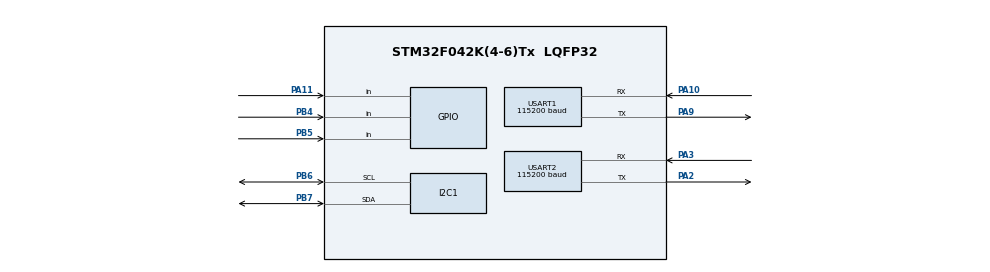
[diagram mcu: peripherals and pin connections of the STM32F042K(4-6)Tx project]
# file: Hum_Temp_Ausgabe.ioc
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I2C1.Timing=0x00201D2B
Mcu.Family=STM32F0
Mcu.Name=STM32F042K(4-6)Tx
Mcu.Package=LQFP32
PA10.Mode=Asynchronous
PA10.Signal=USART1_RX
PA11.Signal=GPIO_Input
PA13.Mode=Serial_Wire
PA13.Signal=SYS_SWDIO
PA14.Mode=Serial_Wire
PA14.Signal=SYS_SWCLK
PA2.Mode=Asynchronous
PA2.Signal=USART2_TX
PA3.Mode=Asynchronous
PA3.Signal=USART2_RX
PA9.Mode=Asynchronous
PA9.Signal=USART1_TX
PB4.Signal=GPIO_Input
PB5.Signal=GPIO_Input
PB6.Mode=I2C
PB6.Signal=I2C1_SCL
PB7.Mode=I2C
PB7.Signal=I2C1_SDA
ProjectManager.HeapSize=0x200
ProjectManager.StackSize=0x400
ProjectManager.TargetToolchain=STM32CubeIDE
USART1.BaudRate=115200
USART1.VirtualMode-Asynchronous=VM_ASYNC
USART2.BaudRate=115200
USART2.VirtualMode-Asynchronous=VM_ASYNC
board=NUCLEO-F042K6

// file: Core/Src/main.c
/* USER CODE BEGIN Header */
/**
  ******************************************************************************
  * @file           : main.c
  * @brief          : Main program body
  ******************************************************************************
  * @attention
  *
  * Copyright (c) 2026 STMicroelectronics.
  * All rights reserved.
  *
  * This software is licensed under terms that can be found in the LICENSE file
  * in the root directory of this software component.
  * If no LICENSE file comes with this software, it is provided AS-IS.
  *
  ******************************************************************************
  */
/* USER CODE END Header */
#include "main.h"

/* USER CODE BEGIN Includes */
#include <string.h>
#include <stdio.h>
#include <stdlib.h>
#include <stdbool.h>
#include "ssd1306.h"
#include "ssd1306_fonts.h"
/* USER CODE END Includes */

/* USER CODE BEGIN PTD */

typedef enum {
	IPD_WAIT_HDR, IPD_READ_HDR, IPD_READ_PAYLOAD
} ipd_state_t;

typedef struct {
	 uint8_t id;
	 int16_t temperature_x100;  // z.B. 2345 = 23.45°C
	 int16_t humidity_x100;
	 uint32_t lastUpdate;
	 bool valid;
} slave_data_t;

typedef enum {
	UI_MENU,
	UI_MEASUREMENT,
	UI_CAL_TEMP,
	UI_CAL_HUM,
	UI_LIMIT_TEMP_MIN,
	UI_LIMIT_TEMP_MAX,
	UI_LIMIT_HUM_MIN,
	UI_LIMIT_HUM_MAX
} ui_state_t;

typedef enum {
	BUTTON_NONE,
	BUTTON_UP,
	BUTTON_DOWN,
	BUTTON_ENTER
} button_event_t;

/* USER CODE END PTD */

/* USER CODE BEGIN PD */

#define RX_BUF_SIZE 1500

// WLAN Zugangsdaten (Hotspot)
#define WIFI_SSID "Tyler"
#define WIFI_PASS "12345678"

// TCP Server-Port
#define SERVER_PORT 5000

#define IPD_HDR_MAX   64

#define MAX_SLAVES 4

#define BUTTON_UP_PORT      GPIOB
#define BUTTON_UP_PIN       GPIO_PIN_4
#define BUTTON_DOWN_PORT    GPIOB
#define BUTTON_DOWN_PIN     GPIO_PIN_5
#define BUTTON_ENTER_PORT   GPIOA
#define BUTTON_ENTER_PIN    GPIO_PIN_11
#define BUTTON_PRESSED      GPIO_PIN_SET
#define BUTTON_DEBOUNCE_MS  50

#define MENU_ITEM_COUNT 3

/* USER CODE END PD */

I2C_HandleTypeDef hi2c1;

UART_HandleTypeDef huart1;
UART_HandleTypeDef huart2;

/* USER CODE BEGIN PV */

static char rxBuf[RX_BUF_SIZE];

static ipd_state_t ipd_state = IPD_WAIT_HDR;
static char ipd_hdr[IPD_HDR_MAX];
static uint16_t ipd_hdr_len = 0;
static int ipd_expect = 0;   // erwartete Nutzlast-Bytes aus Header
static uint16_t ipd_payload_i = 0;

static void ipd_reset(void) {
	ipd_state = IPD_WAIT_HDR;
	ipd_hdr_len = 0;
	ipd_expect = 0;
	ipd_payload_i = 0;
}

slave_data_t slaves[MAX_SLAVES];

static ui_state_t ui_state = UI_MENU;
static uint8_t menu_index = 0;
static bool ui_redraw_requested = true;

static int16_t temperature_offset_c = 0;
static int16_t humidity_offset_percent = 0;
static int16_t temperature_min_c = 0;
static int16_t temperature_max_c = 50;
static int16_t humidity_min_percent = 0;
static int16_t humidity_max_percent = 100;

/* USER CODE END PV */

void SystemClock_Config(void);
static void MX_GPIO_Init(void);
static void MX_USART2_UART_Init(void);
static void MX_I2C1_Init(void);
static void MX_USART1_UART_Init(void);

/* USER CODE BEGIN 0 */

void ESP_SendCmd(const char *cmd, uint32_t timeout) {
	uint8_t rx[RX_BUF_SIZE];
	uint16_t idx = 0;
	uint8_t ch;
	uint32_t start = HAL_GetTick();
	memset(rx, 0, RX_BUF_SIZE);
	HAL_UART_Transmit(&huart1, (uint8_t*) cmd, strlen(cmd), HAL_MAX_DELAY); // Debug-Ausgabe
	HAL_UART_Transmit(&huart2, (uint8_t*) ">>> ", 4, HAL_MAX_DELAY);
	HAL_UART_Transmit(&huart2, (uint8_t*) cmd, strlen(cmd), HAL_MAX_DELAY);
	while ((HAL_GetTick() - start) < timeout && idx < (RX_BUF_SIZE - 1)) {
		if (HAL_UART_Receive(&huart1, &ch, 1, 200) == HAL_OK) {
			rx[idx++] = ch;
		}
	}
	rx[idx] = '\0';
	HAL_UART_Transmit(&huart2, (uint8_t*) " <- ", 4, HAL_MAX_DELAY);
	HAL_UART_Transmit(&huart2, rx, strlen((char*) rx), HAL_MAX_DELAY);
	HAL_UART_Transmit(&huart2, (uint8_t*) "\r\n", 2, HAL_MAX_DELAY);
}

void ESP_Init(void) {
	HAL_UART_Transmit(&huart2,
			(uint8_t*) "\r\n--- ESP WLAN Verbinden (Server) ---\r\n", 38,
			HAL_MAX_DELAY);
	// 1) Test, Reset, Echo off
	ESP_SendCmd("AT\r\n", 2000);
	HAL_Delay(300);
	ESP_SendCmd("AT+RST\r\n", 5000);
	HAL_Delay(3000);
	ESP_SendCmd("ATE0\r\n", 1000); // Echo off
	HAL_Delay(100);
	ESP_SendCmd("AT+CIPDINFO=0\r\n", 1000); // kompakter +IPD-Header: +IPD,<len>:<payload>
	HAL_Delay(100);
	// 2) Station Mode (CWMODE=1)
	ESP_SendCmd("AT+CWMODE_DEF=1\r\n", 2000);
	HAL_Delay(200);
	// 3) Vorherige WLAN-Verbindung trennen
	ESP_SendCmd("AT+CWQAP\r\n", 2000);
	HAL_Delay(200);
	// 4) Mit Hotspot verbinden (Station)
	char joinCmd[128];
	snprintf(joinCmd, sizeof(joinCmd), "AT+CWJAP=\"%s\",\"%s\"\r\n", WIFI_SSID,
			WIFI_PASS);
	ESP_SendCmd(joinCmd, 30000);
	HAL_Delay(1000);
	// 5) IP anzeigen
	ESP_SendCmd("AT+CIFSR\r\n", 3000);
	// 6) Multi-Connection Mode aktivieren
	ESP_SendCmd("AT+CIPMUX=1\r\n", 2000);
	HAL_Delay(200);

	ESP_SendCmd("AT+CIPSERVERMAXCONN=4\r\n", 2000);
	HAL_Delay(200);
	ESP_SendCmd("AT+CIPSTO=3600\r\n", 2000);   // Timeout 1 Stunde
	HAL_Delay(200);
}

void ESP_StartServer(void) {
	char cmd[64];
	snprintf(cmd, sizeof(cmd), "AT+CIPSERVER=1,%d\r\n", SERVER_PORT);
	ESP_SendCmd(cmd, 3000);
	HAL_Delay(200);
}

static bool ipd_try_parse_len(const char *hdr, int *out_len) {
	// akzeptiere beide Formen:
	// "+IPD,<len>:" oder
	// "+IPD,<link>,<len>:"
	// Wir greifen die letzte Zahl vor ':' als Länge ab.
	const char *colon = strchr(hdr, ':');
	if (!colon)
		return false;
	// suche letzte Komma-Position vor ':'
	const char *p = colon - 1;
	while (p > hdr && *p != ',')
		p--;
	if (*p != ',')
		return false;
	int len = atoi(p + 1);
	if (len <= 0)
		return false;
	*out_len = len;
	return true;
}

void ESP_ProcessIncomingByte(uint8_t ch) {
	switch (ipd_state) {
	case IPD_WAIT_HDR:
		if (ch == '+') {
			ipd_hdr_len = 0;
			ipd_hdr[ipd_hdr_len++] = ch;
			ipd_state = IPD_READ_HDR;
		}
		break;

	case IPD_READ_HDR:
		if (ipd_hdr_len < (IPD_HDR_MAX - 1)) {
			ipd_hdr[ipd_hdr_len++] = ch;
			ipd_hdr[ipd_hdr_len] = '\0';
		} else {
			ipd_reset();
			break;
		}
		if (ch == ':') {
			if (strncmp(ipd_hdr, "+IPD", 4) != 0) {
				ipd_reset();
				break;
			}
			if (!ipd_try_parse_len(ipd_hdr, &ipd_expect)) {
				ipd_reset();
				break;
			}
			ipd_payload_i = 0;
			ipd_state = IPD_READ_PAYLOAD;
		}
		break;

	case IPD_READ_PAYLOAD:
		if (ipd_payload_i < (RX_BUF_SIZE - 1)) {
			rxBuf[ipd_payload_i++] = (char) ch;
		}
		if (--ipd_expect == 0) {
			rxBuf[(ipd_payload_i < RX_BUF_SIZE) ?
					ipd_payload_i : (RX_BUF_SIZE - 1)] = '\0';

			// CR/LF am Ende entfernen
			rxBuf[strcspn(rxBuf, "\r\n")] = 0;

			// UART Debugausgabe
			HAL_UART_Transmit(&huart2, (uint8_t*) "Empfangen: ", 11,
					HAL_MAX_DELAY);
			HAL_UART_Transmit(&huart2, (uint8_t*) rxBuf, strlen(rxBuf),
					HAL_MAX_DELAY);
			HAL_UART_Transmit(&huart2, (uint8_t*) "\r\n", 2, HAL_MAX_DELAY);

			int ID = -1;
			int t_int = 0, t_frac = 0;
			int h_int = 0, h_frac = 0;
			if (sscanf(rxBuf, "ID=%d;T=%d.%d;H=%d.%d", &ID, &t_int, &t_frac, &h_int, &h_frac) == 5) {

				// Debug ohne %f
				    char dbg[64];
				    snprintf(dbg, sizeof(dbg), "Slave %d -> %d.%02d°C H=%d.%02d%%\r\n",
				             ID, t_int, t_frac, h_int, h_frac);
				    HAL_UART_Transmit(&huart2, (uint8_t*) dbg, strlen(dbg), HAL_MAX_DELAY);

				    if (ID >= 1 && ID <= MAX_SLAVES) {
				    	slaves[ID - 1].temperature_x100 = t_int * 100 + t_frac;
				    	slaves[ID - 1].humidity_x100    = h_int * 100 + h_frac;
				        slaves[ID - 1].lastUpdate  = HAL_GetTick();
				        slaves[ID - 1].valid       = true;
				    }

			} else {
				HAL_UART_Transmit(&huart2, (uint8_t*) "Parsing failed!\r\n", 17,
						HAL_MAX_DELAY);
			}
			ipd_reset();
		}
		break;
	}
}

void ESP_CheckIncoming(void) {
	uint8_t ch;
	uint32_t last_rx_time = HAL_GetTick();
	bool got_data = false;

	// Sammle alles, was im UART-Puffer liegt (z.B. 50 ms lang)
	while ((HAL_GetTick() - last_rx_time) < 50) {
		if (HAL_UART_Receive(&huart1, &ch, 1, 5) == HAL_OK) {
			got_data = true;
			last_rx_time = HAL_GetTick();
			ESP_ProcessIncomingByte(ch);
		}
	}

	// Wenn nichts kam, einfach zurück
	if (!got_data)
		return;
}

static int16_t ClampInt16(int16_t value, int16_t min, int16_t max) {
	if (value < min) {
		return min;
	}
	if (value > max) {
		return max;
	}
	return value;
}

static int16_t RoundX100ToInt(int16_t value_x100) {
	int32_t value = value_x100;

	if (value < 0) {
		return (int16_t) -(((-value) + 50) / 100);
	}
	return (int16_t) ((value + 50) / 100);
}

static int16_t GetTemperatureC(void) {
	return RoundX100ToInt(slaves[0].temperature_x100) + temperature_offset_c;
}

static int16_t GetHumidityPercent(void) {
	int16_t humidity = RoundX100ToInt(slaves[0].humidity_x100)
			+ humidity_offset_percent;
	return ClampInt16(humidity, 0, 100);
}

static button_event_t Buttons_ReadEvent(void) {
	static button_event_t last_raw = BUTTON_NONE;
	static uint32_t last_change = 0;
	static bool pressed_latched = false;
	button_event_t raw = BUTTON_NONE;
	uint32_t now = HAL_GetTick();

	if (HAL_GPIO_ReadPin(BUTTON_ENTER_PORT, BUTTON_ENTER_PIN) == BUTTON_PRESSED) {
		raw = BUTTON_ENTER;
	} else if (HAL_GPIO_ReadPin(BUTTON_UP_PORT, BUTTON_UP_PIN) == BUTTON_PRESSED) {
		raw = BUTTON_UP;
	} else if (HAL_GPIO_ReadPin(BUTTON_DOWN_PORT, BUTTON_DOWN_PIN) == BUTTON_PRESSED) {
		raw = BUTTON_DOWN;
	}

	if (raw != last_raw) {
		last_raw = raw;
		last_change = now;
	}

	if (raw == BUTTON_NONE) {
		pressed_latched = false;
		return BUTTON_NONE;
	}

	if (pressed_latched || (now - last_change) < BUTTON_DEBOUNCE_MS) {
		return BUTTON_NONE;
	}

	pressed_latched = true;
	return raw;
}

static void UI_BackToMenu(void) {
	ui_state = UI_MENU;
	ui_redraw_requested = true;
}

static void UI_HandleButton(button_event_t event) {
	if (event == BUTTON_NONE) {
		return;
	}

	switch (ui_state) {
	case UI_MENU:
		if (event == BUTTON_UP) {
			menu_index = (menu_index == 0) ? (MENU_ITEM_COUNT - 1) : (menu_index - 1);
		} else if (event == BUTTON_DOWN) {
			menu_index = (menu_index + 1) % MENU_ITEM_COUNT;
		} else if (event == BUTTON_ENTER) {
			if (menu_index == 0) {
				ui_state = UI_MEASUREMENT;
			} else if (menu_index == 1) {
				ui_state = UI_CAL_TEMP;
			} else {
				ui_state = UI_LIMIT_TEMP_MIN;
			}
		}
		break;

	case UI_MEASUREMENT:
		if (event == BUTTON_ENTER) {
			UI_BackToMenu();
			return;
		}
		break;

	case UI_CAL_TEMP:
		if (event == BUTTON_UP) {
			temperature_offset_c = ClampInt16(temperature_offset_c + 1, -20, 20);
		} else if (event == BUTTON_DOWN) {
			temperature_offset_c = ClampInt16(temperature_offset_c - 1, -20, 20);
		} else if (event == BUTTON_ENTER) {
			ui_state = UI_CAL_HUM;
		}
		break;

	case UI_CAL_HUM:
		if (event == BUTTON_UP) {
			humidity_offset_percent = ClampInt16(humidity_offset_percent + 1, -20, 20);
		} else if (event == BUTTON_DOWN) {
			humidity_offset_percent = ClampInt16(humidity_offset_percent - 1, -20, 20);
		} else if (event == BUTTON_ENTER) {
			UI_BackToMenu();
			return;
		}
		break;

	case UI_LIMIT_TEMP_MIN:
		if (event == BUTTON_UP) {
			temperature_min_c = ClampInt16(temperature_min_c + 1, -40,
					temperature_max_c);
		} else if (event == BUTTON_DOWN) {
			temperature_min_c = ClampInt16(temperature_min_c - 1, -40,
					temperature_max_c);
		} else if (event == BUTTON_ENTER) {
			ui_state = UI_LIMIT_TEMP_MAX;
		}
		break;

	case UI_LIMIT_TEMP_MAX:
		if (event == BUTTON_UP) {
			temperature_max_c = ClampInt16(temperature_max_c + 1,
					temperature_min_c, 100);
		} else if (event == BUTTON_DOWN) {
			temperature_max_c = ClampInt16(temperature_max_c - 1,
					temperature_min_c, 100);
		} else if (event == BUTTON_ENTER) {
			ui_state = UI_LIMIT_HUM_MIN;
		}
		break;

	case UI_LIMIT_HUM_MIN:
		if (event == BUTTON_UP) {
			humidity_min_percent = ClampInt16(humidity_min_percent + 1, 0,
					humidity_max_percent);
		} else if (event == BUTTON_DOWN) {
			humidity_min_percent = ClampInt16(humidity_min_percent - 1, 0,
					humidity_max_percent);
		} else if (event == BUTTON_ENTER) {
			ui_state = UI_LIMIT_HUM_MAX;
		}
		break;

	case UI_LIMIT_HUM_MAX:
		if (event == BUTTON_UP) {
			humidity_max_percent = ClampInt16(humidity_max_percent + 1,
					humidity_min_percent, 100);
		} else if (event == BUTTON_DOWN) {
			humidity_max_percent = ClampInt16(humidity_max_percent - 1,
					humidity_min_percent, 100);
		} else if (event == BUTTON_ENTER) {
			UI_BackToMenu();
			return;
		}
		break;
	}

	ui_redraw_requested = true;
}

static void UI_DrawMenu(void) {
	ssd1306_SetCursor(0, 0);
	ssd1306_WriteString("Menu", Font_7x10, White);

	ssd1306_SetCursor(0, 16);
	ssd1306_WriteString(menu_index == 0 ? "> Messung" : "  Messung",
			Font_7x10, White);
	ssd1306_SetCursor(0, 30);
	ssd1306_WriteString(menu_index == 1 ? "> Kalibrieren" : "  Kalibrieren",
			Font_7x10, White);
	ssd1306_SetCursor(0, 44);
	ssd1306_WriteString(menu_index == 2 ? "> Grenzwerte" : "  Grenzwerte",
			Font_7x10, White);
}

static void UI_DrawMeasurement(void) {
	char line[24];
	int16_t temperature_c;
	int16_t humidity_percent;
	uint8_t warning_y = 45;

	ssd1306_SetCursor(0, 0);
	ssd1306_WriteString("Messung", Font_7x10, White);

	if (!slaves[0].valid) {
		ssd1306_SetCursor(0, 20);
		ssd1306_WriteString("Warte auf", Font_11x18, White);
		ssd1306_SetCursor(0, 40);
		ssd1306_WriteString("Daten", Font_11x18, White);
		return;
	}

	temperature_c = GetTemperatureC();
	humidity_percent = GetHumidityPercent();

	snprintf(line, sizeof(line), "T:%d C", temperature_c);
	ssd1306_SetCursor(0, 12);
	ssd1306_WriteString(line, Font_11x18, White);

	snprintf(line, sizeof(line), "H:%d %%", humidity_percent);
	ssd1306_SetCursor(0, 30);
	ssd1306_WriteString(line, Font_11x18, White);

	if (temperature_c < temperature_min_c) {
		ssd1306_SetCursor(0, warning_y);
		ssd1306_WriteString("Temp unter Min", Font_6x8, White);
		warning_y += 9;
	} else if (temperature_c > temperature_max_c) {
		ssd1306_SetCursor(0, warning_y);
		ssd1306_WriteString("Temp ueber Max", Font_6x8, White);
		warning_y += 9;
	}

	if (humidity_percent < humidity_min_percent) {
		ssd1306_SetCursor(0, warning_y);
		ssd1306_WriteString("Feuchte unter Min", Font_6x8, White);
	} else if (humidity_percent > humidity_max_percent) {
		ssd1306_SetCursor(0, warning_y);
		ssd1306_WriteString("Feuchte ueber Max", Font_6x8, White);
	}
}

static void UI_DrawCalibration(void) {
	char line[24];

	ssd1306_SetCursor(0, 0);
	ssd1306_WriteString("Kalibrieren", Font_7x10, White);

	if (ui_state == UI_CAL_TEMP) {
		ssd1306_SetCursor(0, 18);
		ssd1306_WriteString("Temp Offset", Font_7x10, White);
		snprintf(line, sizeof(line), "%+d C", temperature_offset_c);
	} else {
		ssd1306_SetCursor(0, 18);
		ssd1306_WriteString("Feuchte Offset", Font_7x10, White);
		snprintf(line, sizeof(line), "%+d %%", humidity_offset_percent);
	}

	ssd1306_SetCursor(0, 32);
	ssd1306_WriteString(line, Font_11x18, White);
	ssd1306_SetCursor(0, 56);
	ssd1306_WriteString("UP/DOWN  ENTER", Font_6x8, White);
}

static void UI_DrawLimitValue(const char *label, int16_t value,
		const char *unit) {
	char line[24];

	ssd1306_SetCursor(0, 0);
	ssd1306_WriteString("Grenzwerte", Font_7x10, White);
	ssd1306_SetCursor(0, 18);
	ssd1306_WriteString((char*) label, Font_7x10, White);

	snprintf(line, sizeof(line), "%d %s", value, unit);
	ssd1306_SetCursor(0, 32);
	ssd1306_WriteString(line, Font_11x18, White);
	ssd1306_SetCursor(0, 56);
	ssd1306_WriteString("UP/DOWN  ENTER", Font_6x8, White);
}

static void UI_Draw(void) {
	ssd1306_Fill(Black);

	switch (ui_state) {
	case UI_MENU:
		UI_DrawMenu();
		break;
	case UI_MEASUREMENT:
		UI_DrawMeasurement();
		break;
	case UI_CAL_TEMP:
	case UI_CAL_HUM:
		UI_DrawCalibration();
		break;
	case UI_LIMIT_TEMP_MIN:
		UI_DrawLimitValue("Temp Min", temperature_min_c, "C");
		break;
	case UI_LIMIT_TEMP_MAX:
		UI_DrawLimitValue("Temp Max", temperature_max_c, "C");
		break;
	case UI_LIMIT_HUM_MIN:
		UI_DrawLimitValue("Feuchte Min", humidity_min_percent, "%");
		break;
	case UI_LIMIT_HUM_MAX:
		UI_DrawLimitValue("Feuchte Max", humidity_max_percent, "%");
		break;
	}

	ssd1306_UpdateScreen();
}

void UI_Update(void) {
	static uint32_t last_refresh = 0;
	uint32_t now = HAL_GetTick();

	UI_HandleButton(Buttons_ReadEvent());

	if (!ui_redraw_requested && ui_state == UI_MEASUREMENT
			&& (now - last_refresh) >= 500) {
		ui_redraw_requested = true;
	}

	if (ui_redraw_requested) {
		UI_Draw();
		last_refresh = now;
		ui_redraw_requested = false;
	}
}

/* USER CODE END 0 */

int main(void)
{

  /* MCU Configuration--------------------------------------------------------*/

  /* Reset of all peripherals, Initializes the Flash interface and the Systick. */
  HAL_Init();

  /* Configure the system clock */
  SystemClock_Config();

  /* Initialize all configured peripherals */
  MX_GPIO_Init();
  MX_USART2_UART_Init();
  MX_I2C1_Init();
  MX_USART1_UART_Init();
  /* USER CODE BEGIN 2 */

  ssd1306_Init();
  UI_Update();

  ESP_Init();
  ESP_StartServer();

  /* USER CODE END 2 */

  /* Infinite loop */
  /* USER CODE BEGIN WHILE */
  while (1)
  {
	  ESP_CheckIncoming();
	  UI_Update();
	  HAL_Delay(10);

    /* USER CODE END WHILE */

  }
}

void SystemClock_Config(void)
{
  RCC_OscInitTypeDef RCC_OscInitStruct = {0};
  RCC_ClkInitTypeDef RCC_ClkInitStruct = {0};
  RCC_PeriphCLKInitTypeDef PeriphClkInit = {0};

  /** Initializes the RCC Oscillators according to the specified parameters
  * in the RCC_OscInitTypeDef structure.
  */
  RCC_OscInitStruct.OscillatorType = RCC_OSCILLATORTYPE_HSI;
  RCC_OscInitStruct.HSIState = RCC_HSI_ON;
  RCC_OscInitStruct.HSICalibrationValue = RCC_HSICALIBRATION_DEFAULT;
  RCC_OscInitStruct.PLL.PLLState = RCC_PLL_NONE;
  if (HAL_RCC_OscConfig(&RCC_OscInitStruct) != HAL_OK)
  {
    Error_Handler();
  }

  /** Initializes the CPU, AHB and APB buses clocks
  */
  RCC_ClkInitStruct.ClockType = RCC_CLOCKTYPE_HCLK|RCC_CLOCKTYPE_SYSCLK
                              |RCC_CLOCKTYPE_PCLK1;
  RCC_ClkInitStruct.SYSCLKSource = RCC_SYSCLKSOURCE_HSI;
  RCC_ClkInitStruct.AHBCLKDivider = RCC_SYSCLK_DIV1;
  RCC_ClkInitStruct.APB1CLKDivider = RCC_HCLK_DIV1;

  if (HAL_RCC_ClockConfig(&RCC_ClkInitStruct, FLASH_LATENCY_0) != HAL_OK)
  {
    Error_Handler();
  }
  PeriphClkInit.PeriphClockSelection = RCC_PERIPHCLK_USART1|RCC_PERIPHCLK_I2C1;
  PeriphClkInit.Usart1ClockSelection = RCC_USART1CLKSOURCE_PCLK1;
  PeriphClkInit.I2c1ClockSelection = RCC_I2C1CLKSOURCE_HSI;
  if (HAL_RCCEx_PeriphCLKConfig(&PeriphClkInit) != HAL_OK)
  {
    Error_Handler();
  }
}

static void MX_I2C1_Init(void)
{

  hi2c1.Instance = I2C1;
  hi2c1.Init.Timing = 0x00201D2B;
  hi2c1.Init.OwnAddress1 = 0;
  hi2c1.Init.AddressingMode = I2C_ADDRESSINGMODE_7BIT;
  hi2c1.Init.DualAddressMode = I2C_DUALADDRESS_DISABLE;
  hi2c1.Init.OwnAddress2 = 0;
  hi2c1.Init.OwnAddress2Masks = I2C_OA2_NOMASK;
  hi2c1.Init.GeneralCallMode = I2C_GENERALCALL_DISABLE;
  hi2c1.Init.NoStretchMode = I2C_NOSTRETCH_DISABLE;
  if (HAL_I2C_Init(&hi2c1) != HAL_OK)
  {
    Error_Handler();
  }

  /** Configure Analogue filter
  */
  if (HAL_I2CEx_ConfigAnalogFilter(&hi2c1, I2C_ANALOGFILTER_ENABLE) != HAL_OK)
  {
    Error_Handler();
  }

  /** Configure Digital filter
  */
  if (HAL_I2CEx_ConfigDigitalFilter(&hi2c1, 0) != HAL_OK)
  {
    Error_Handler();
  }

}

static void MX_USART1_UART_Init(void)
{

  huart1.Instance = USART1;
  huart1.Init.BaudRate = 115200;
  huart1.Init.WordLength = UART_WORDLENGTH_8B;
  huart1.Init.StopBits = UART_STOPBITS_1;
  huart1.Init.Parity = UART_PARITY_NONE;
  huart1.Init.Mode = UART_MODE_TX_RX;
  huart1.Init.HwFlowCtl = UART_HWCONTROL_NONE;
  huart1.Init.OverSampling = UART_OVERSAMPLING_16;
  huart1.Init.OneBitSampling = UART_ONE_BIT_SAMPLE_DISABLE;
  huart1.AdvancedInit.AdvFeatureInit = UART_ADVFEATURE_NO_INIT;
  if (HAL_UART_Init(&huart1) != HAL_OK)
  {
    Error_Handler();
  }

}

static void MX_USART2_UART_Init(void)
{

  huart2.Instance = USART2;
  huart2.Init.BaudRate = 115200;
  huart2.Init.WordLength = UART_WORDLENGTH_8B;
  huart2.Init.StopBits = UART_STOPBITS_1;
  huart2.Init.Parity = UART_PARITY_NONE;
  huart2.Init.Mode = UART_MODE_TX_RX;
  huart2.Init.HwFlowCtl = UART_HWCONTROL_NONE;
  huart2.Init.OverSampling = UART_OVERSAMPLING_16;
  huart2.Init.OneBitSampling = UART_ONE_BIT_SAMPLE_DISABLE;
  huart2.AdvancedInit.AdvFeatureInit = UART_ADVFEATURE_NO_INIT;
  if (HAL_UART_Init(&huart2) != HAL_OK)
  {
    Error_Handler();
  }

}

static void MX_GPIO_Init(void)
{
  GPIO_InitTypeDef GPIO_InitStruct = {0};

  /* GPIO Ports Clock Enable */
  __HAL_RCC_GPIOA_CLK_ENABLE();
  __HAL_RCC_GPIOB_CLK_ENABLE();

  /*Configure GPIO pin : PA11 */
  GPIO_InitStruct.Pin = GPIO_PIN_11;
  GPIO_InitStruct.Mode = GPIO_MODE_INPUT;
  GPIO_InitStruct.Pull = GPIO_NOPULL;
  HAL_GPIO_Init(GPIOA, &GPIO_InitStruct);

  /*Configure GPIO pins : PB4 PB5 */
  GPIO_InitStruct.Pin = GPIO_PIN_4|GPIO_PIN_5;
  GPIO_InitStruct.Mode = GPIO_MODE_INPUT;
  GPIO_InitStruct.Pull = GPIO_NOPULL;
  HAL_GPIO_Init(GPIOB, &GPIO_InitStruct);

}

void Error_Handler(void)
{
  __disable_irq();
  while (1)
  {
  }
}
